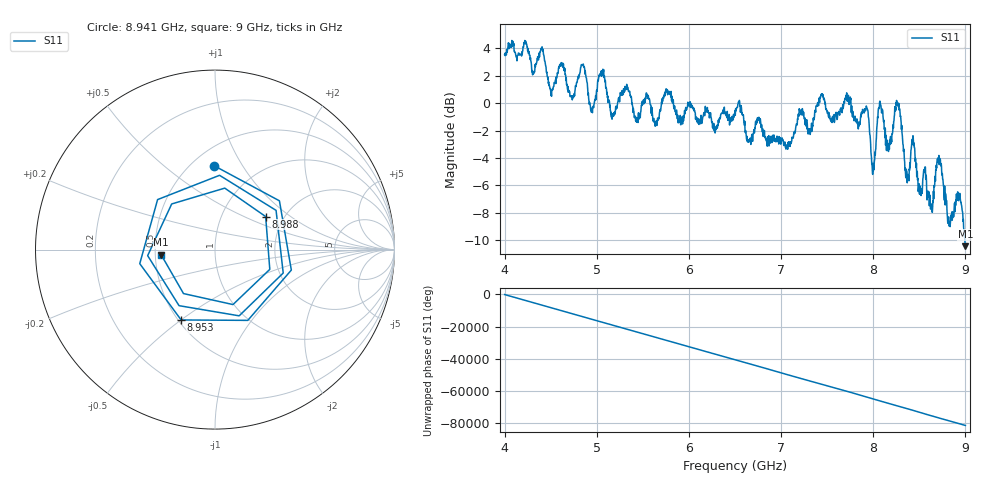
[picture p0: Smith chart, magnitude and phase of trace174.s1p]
! Created with skrf 1.8.0 (http://scikit-rf.org).
# Hz S RI R 50.0
!freq ReS11 ImS11
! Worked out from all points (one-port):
!   1601 points, 4 GHz to 9 GHz, reference 50 ohm
!   lowest |S11| = -10.4 dB at 9 GHz (marker M1), VSWR 1.86, Z = 26.9 - j1.72 ohm
!   |S11| at or under -10 dB: 8.994835 GHz to end of sweep
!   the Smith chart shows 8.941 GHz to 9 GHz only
!   S11 on the Smith chart (normalised r, x): 8.941 GHz: 0.63, +0.76; 8.953 GHz: 0.52, -0.50; 8.988 GHz: 1.61, +0.67; 9 GHz: 0.54, -0.03
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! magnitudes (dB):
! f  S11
! 4 GHz  3.5
! 4.406 GHz  4.1
! 4.506 GHz  0.8
! 4.625 GHz  2.7
! 4.734 GHz  0.2
! 4.85 GHz  2.8
! 4.944 GHz  -0.6
! 5.05 GHz  2.0
! 5.172 GHz  -0.8
! 5.25 GHz  0.4
! 5.875 GHz  -1.1
! 6.5 GHz  -0.6
! 7.125 GHz  -2.6
! 7.75 GHz  0.4
! 7.928 GHz  -0.3
! 8 GHz  -5.0
! 8.072 GHz  0.1
! 8.166 GHz  -3.5
! 8.266 GHz  0.0
! 8.375 GHz  -5.6
! 8.434 GHz  -2.5
! 8.625 GHz  -7.5
! 8.716 GHz  -4.5
! 8.825 GHz  -9.0
! 8.941 GHz  -6.6
! 8.953 GHz  -7.2
! 8.988 GHz  -9.4
! 9 GHz  -10.4
